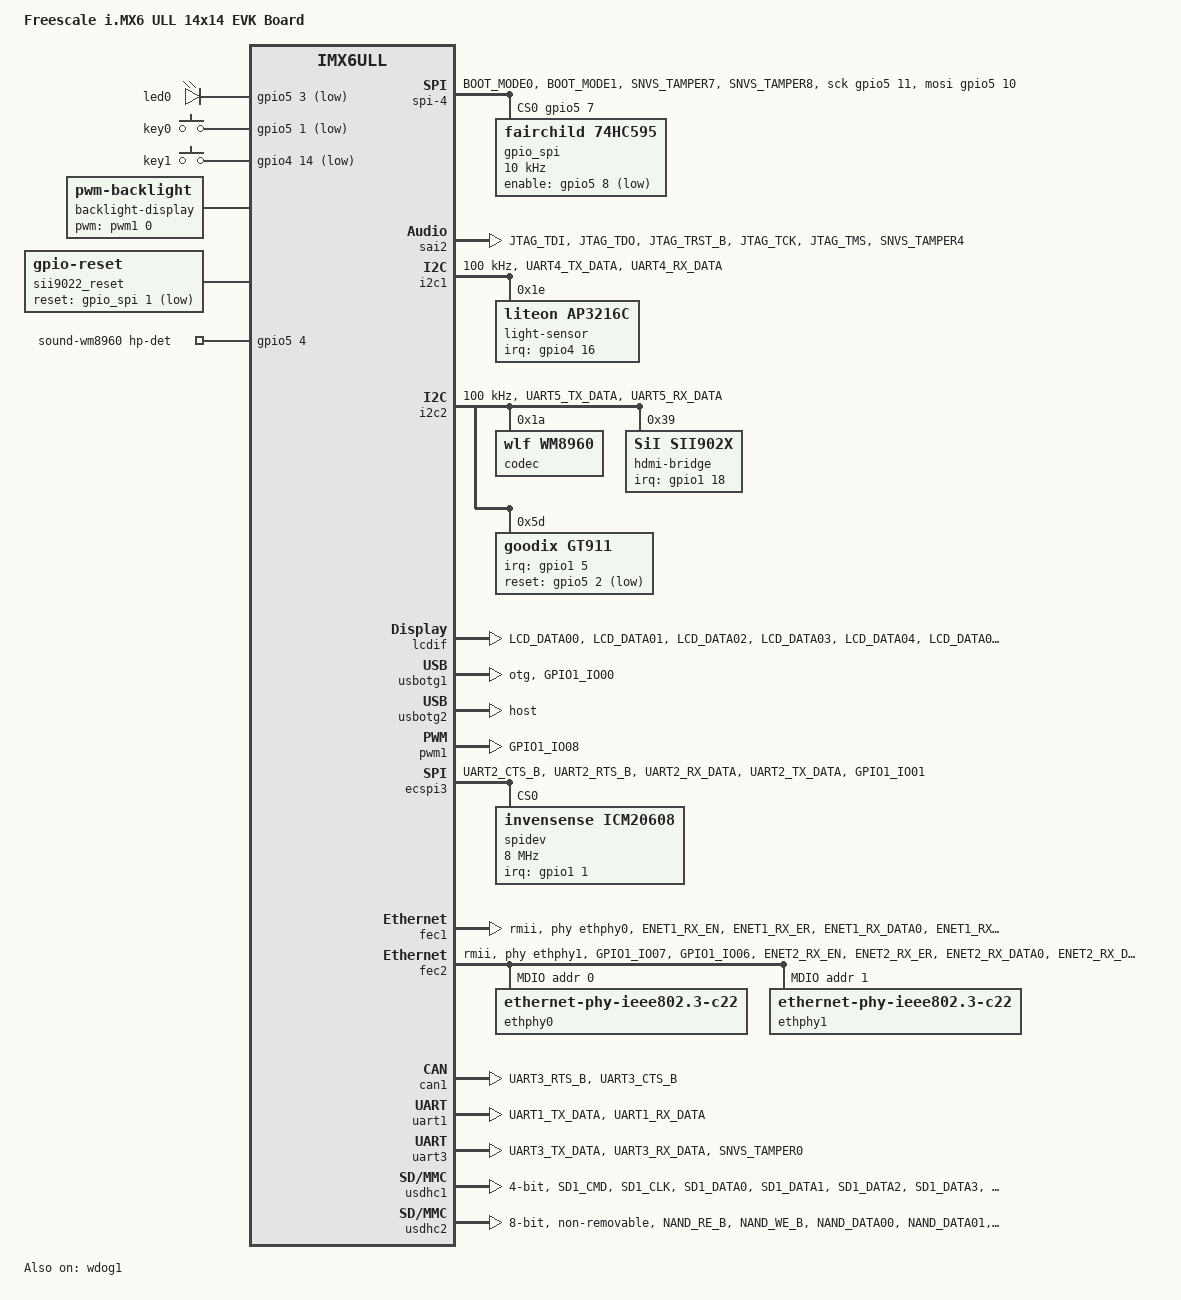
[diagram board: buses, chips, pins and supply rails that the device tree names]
// SPDX-License-Identifier: (GPL-2.0 OR MIT)
//
// Copyright (C) 2016 Freescale Semiconductor, Inc.

/dts-v1/;

#include "imx6ull.dtsi"
#include "imx6ul-14x14-evk.dtsi"

/ {
	model = "Freescale i.MX6 ULL 14x14 EVK Board";
	compatible = "fsl,imx6ull-14x14-evk", "fsl,imx6ull";
	
	leds {
		compatible = "gpio-leds";
		pinctrl-names = "default";
                pinctrl-0 = <&pinctrl_gpio_leds>;
		
		led0 {
			label = "led0";
			gpios = <&gpio5 3 GPIO_ACTIVE_LOW>;
			default-state = "off";
			linux,default-trigger = "heartbeat";
		};
	};
	
	keys {
		compatible = "gpio-keys";
		label = "keys";
		pinctrl-names = "default";
		pinctrl-0 = <&pinctrl_gpio_keys>;
		autorepeat;

		key0 {
			label = "key0";
			linux,code = <103>;
			gpios = <&gpio5 1 GPIO_ACTIVE_LOW>;
		};

		key1 {
			label = "key1";
			linux,code = <108>;
			gpios = <&gpio4 14 GPIO_ACTIVE_LOW>;
		};
	};
	
	backlight-display {
		compatible = "pwm-backlight";
		pwms = <&pwm1 0 5000000>;
		brightness-levels = <0 4 8 16 32 64 128 255>;
		default-brightness-level = <7>;
		status = "okay";
	};
	
	spi-4 {
		compatible = "spi-gpio";
		pinctrl-names = "default";
		pinctrl-0 = <&pinctrl_spi4>;
		status = "okay";
		sck-gpios = <&gpio5 11 0>;
		mosi-gpios = <&gpio5 10 0>;
		cs-gpios = <&gpio5 7 0>;
		num-chipselects = <1>;
		#address-cells = <1>;
		#size-cells = <0>;

		gpio_spi: gpio@0 {
			compatible = "fairchild,74hc595";
			gpio-controller;
			#gpio-cells = <2>;
			reg = <0>;
			registers-number = <1>;
			registers-default = /bits/ 8 <0x57>;
			spi-max-frequency = <10000>;
			enable-gpios = <&gpio5 8 GPIO_ACTIVE_LOW>;
		};
	};
	
	sii9022_reset: sii9022-reset{
		compatible = "gpio-reset";
		reset-gpios = <&gpio_spi 1 GPIO_ACTIVE_LOW>;
		reset-delay-us = <100000>;
		#reset-cells = <0>;
		status = "okay";
	};
	
	sound-wm8960 {
		compatible = "fsl,imx-audio-wm8960";
		model = "wm8960-audio";
		audio-cpu = <&sai2>;
		audio-codec = <&codec>;
		audio-asrc = <&asrc>;
		hp-det-gpio = <&gpio5 4 0>;
		audio-routing =
			"Headphone Jack", "HP_L",
			"Headphone Jack", "HP_R",
			"Ext Spk", "SPK_LP",
			"Ext Spk", "SPK_LN",
			"Ext Spk", "SPK_RP",
			"Ext Spk", "SPK_RN",
			"LINPUT1", "Mic Jack",
			"RINPUT1", "AMIC",
			"RINPUT2", "AMIC",
			"Mic Jack", "MICB",
			"AMIC", "MICB";
	};
};

&sai2 {
	pinctrl-names = "default";
	pinctrl-0 = <&pinctrl_sai2>;
	assigned-clocks = <&clks IMX6UL_CLK_SAI2_SEL>,
			  <&clks IMX6UL_CLK_SAI2>;
	assigned-clock-parents = <&clks IMX6UL_CLK_PLL4_AUDIO_DIV>;
	assigned-clock-rates = <0>, <12288000>;
	fsl,sai-mclk-direction-output;
	status = "okay";
};

&i2c1 {
	clock-frequency = <100000>;
	pinctrl-names = "default";
	pinctrl-0 = <&pinctrl_i2c1>;
	status = "okay";
	
	light-sensor@1e {
		pinctrl-names = "default";
		pinctrl-0 = <&pinctrl_light_sensor>;
		compatible = "liteon,ap3216c";
		reg = <0x1e>;
		interrupt-parent = <&gpio4>;
		interrupts = <16 IRQ_TYPE_EDGE_FALLING>;
	};
};

&i2c2 {
	clock-frequency = <100000>;
	pinctrl-names = "default";
	pinctrl-0 = <&pinctrl_i2c2>;
	status = "okay";

	codec: wm8960@1a {
		#sound-dai-cells = <0>;
		compatible = "wlf,wm8960";
		reg = <0x1a>;
		wlf,shared-lrclk;
		wlf,hp-cfg = <3 2 3>;
		wlf,gpio-cfg = <1 3>;
		clocks = <&clks IMX6UL_CLK_SAI2>;
		clock-names = "mclk";
	};
	
	hdmi-bridge@39 {
                 compatible = "SiI,sii902x";
                 pinctrl-names = "default";
                 reset-names="sii9022";
                 pinctrl-0 = <&pinctrl_sii9022>;
                 resets = <&sii9022_reset>;
                 interrupt-parent = <&gpio1>;
                 interrupts = <18 IRQ_TYPE_EDGE_FALLING>;
                 mode_str ="1280x720M@60";
                 bits-per-pixel = <16>;
                 reg = <0x39>;
        };
	
	gt911@5d {
		pinctrl-names = "default";
                pinctrl-0 = <&pinctrl_tsc_reset &pinctrl_tsc_int>;
		compatible = "goodix,gt911";
		reg = <0x5d>;
		interrupt-parent = <&gpio1>;
                interrupts = <5 IRQ_TYPE_EDGE_FALLING>;
                irq-gpios = <&gpio1 5 IRQ_TYPE_EDGE_FALLING>;
                reset-gpios = <&gpio5 2 GPIO_ACTIVE_LOW>;
                touchscreen-size-x = <800>;
                touchscreen-size-y = <480>;
	};
};

&lcdif {
	pinctrl-names = "default";
	pinctrl-0 = <&pinctrl_lcdif_dat
		     &pinctrl_lcdif_ctrl>;
	display = <&display0>;
	status = "okay";

	display0: display@0 {
		bits-per-pixel = <24>;
		bus-width = <24>;

		display-timings {
			native-mode = <&timing0>;

			timing0: timing0 {
				clock-frequency = <50000000>;
				hactive = <1024>;
				vactive = <600>;
				hfront-porch = <160>;
				hback-porch = <140>;
				hsync-len = <20>;
				vback-porch = <20>;
				vfront-porch = <12>;
				vsync-len = <3>;

				hsync-active = <0>;
				vsync-active = <0>;
				de-active = <1>;
				pixelclk-active = <0>;
			};
		};
	};
};

&usbotg1 {
	dr_mode = "otg";
	pinctrl-names = "default";
	pinctrl-0 = <&pinctrl_usb_otg1>;
	status = "okay";
};

&usbotg2 {
	dr_mode = "host";
	disable-over-current;
	status = "okay";
};

&usbphy1 {
	fsl,tx-d-cal = <0x5>;
};

&usbphy2 {
	fsl,tx-d-cal = <0x5>;
};

&pwm1 {
	#pwm-cells = <2>;
	pinctrl-names = "default";
	pinctrl-0 = <&pinctrl_pwm1>;
	status = "okay";
};

&ecspi3 {
	fsl,spi-num-chipselects = <1>;
	pinctrl-names = "default";
	pinctrl-0 = <&pinctrl_ecspi3>;
	cs-gpio = <&gpio1 20 GPIO_ACTIVE_LOW>;
	status = "okay";

	spidev: icm20608@0{
		compatible = "invensense,icm20608";
		interrupt-parent = <&gpio1>;
		interrupts = <1 IRQ_TYPE_EDGE_FALLING>;
		spi-max-frequency = <8000000>;
		reg = <0>;
	};
};

&fec1 {
	pinctrl-names = "default";
	pinctrl-0 = <&pinctrl_enet1>;
	phy-mode = "rmii";
	phy-handle = <&ethphy0>;
	phy-reset-gpios = <&gpio5 9 GPIO_ACTIVE_LOW>;
	phy-reset-duration = <26>;
	status = "okay";
};

&fec2 {
	pinctrl-names = "default";
	pinctrl-0 = <&pinctrl_enet2>;
	phy-mode = "rmii";
	phy-handle = <&ethphy1>;
	phy-reset-gpios = <&gpio5 6 GPIO_ACTIVE_LOW>;
	phy-reset-duration = <26>;
	status = "okay";

	mdio {
		#address-cells = <1>;
		#size-cells = <0>;

		ethphy0: ethernet-phy@0 {
			compatible = "ethernet-phy-ieee802.3-c22";
			smsc,disable-energy-detect;
			reg = <0>;

		};

		ethphy1: ethernet-phy@1 {
			compatible = "ethernet-phy-ieee802.3-c22";
			smsc,disable-energy-detect;
			reg = <1>;
		};
	};
};

&can1 {
	pinctrl-names = "default";
	pinctrl-0 = <&pinctrl_flexcan1>;
	status = "okay";
};

&clks {
	assigned-clocks = <&clks IMX6UL_CLK_PLL4_AUDIO_DIV>;
	assigned-clock-rates = <786432000>;
};

&uart1 {
	pinctrl-names = "default";
	pinctrl-0 = <&pinctrl_uart1>;
	status = "okay";
};

&uart3 {
	pinctrl-names = "default";
	pinctrl-0 = <&pinctrl_uart3
		     &pinctrl_rs485_ctl>;
	rts-gpio = <&gpio5 0 GPIO_ACTIVE_HIGH>;
	rs485-rts-delay = <100 100>;
	rs485-rts-active-high;
	rs485-rx-during-tx;
	status = "okay";
};

&usdhc1 {
	pinctrl-names = "default";
	pinctrl-0 = <&pinctrl_usdhc1>;
	cd-gpios = <&gpio1 19 GPIO_ACTIVE_LOW>;
	keep-power-in-suspend;
	wakeup-source;
	enable-sdio-wakeup;
	bus-width = <4>;
	status = "okay";
};

&usdhc2 {
	pinctrl-names = "default";
	pinctrl-0 = <&pinctrl_usdhc2_8bit>;
	non-removable;
	keep-power-in-suspend;
	wakeup-source;
	bus-width = <8>;
	status = "okay";
};

&wdog1 {
	status = "okay";
};

&iomuxc {
	pinctrl_gpio_leds: gpioledsgrp {
        	fsl,pins = <
			MX6UL_PAD_SNVS_TAMPER3__GPIO5_IO03	0x1b0b0
		>;
	};
	
	pinctrl_gpio_keys: gpiokeysgrp {
		fsl,pins = <
			MX6UL_PAD_SNVS_TAMPER1__GPIO5_IO01	0x1b0b0
			MX6UL_PAD_NAND_CE1_B__GPIO4_IO14	0x1b0b0
		>;
	};
	
	pinctrl_i2c1: i2c1grp {
		fsl,pins = <
			MX6UL_PAD_UART4_TX_DATA__I2C1_SCL 0x4001b8b0
			MX6UL_PAD_UART4_RX_DATA__I2C1_SDA 0x4001b8b0
		>;
	};
	
	pinctrl_i2c2: i2c2grp {
		fsl,pins = <
			MX6UL_PAD_UART5_TX_DATA__I2C2_SCL 0x4001b8b0
			MX6UL_PAD_UART5_RX_DATA__I2C2_SDA 0x4001b8b0
		>;
	};
	
	pinctrl_sii9022: sii9022grp {
		fsl,pins = <
			MX6UL_PAD_UART1_CTS_B__GPIO1_IO18	0x59
		>;
	};
	
	pinctrl_tsc_reset: tscresetgrp {
		fsl,pins = <
			MX6ULL_PAD_SNVS_TAMPER2__GPIO5_IO02        0x000110a0
		>;
        };
        
        pinctrl_tsc_int: tscintgrp {
		fsl,pins = <
			MX6UL_PAD_GPIO1_IO05__GPIO1_IO05 0x000010b0
		>;
	};
	
	pinctrl_light_sensor: lightsensorgrp {
		fsl,pins = <
			MX6UL_PAD_NAND_DQS__GPIO4_IO16	0x1b0b0
		>;
	};
	
	pinctrl_usb_otg1: usbotg1grp {
		fsl,pins = <
			MX6UL_PAD_GPIO1_IO00__ANATOP_OTG1_ID	0x17059
		>;
	};
	
	pinctrl_lcdif_dat: lcdifdatgrp {
		fsl,pins = <
			MX6UL_PAD_LCD_DATA00__LCDIF_DATA00  0x79
			MX6UL_PAD_LCD_DATA01__LCDIF_DATA01  0x79
			MX6UL_PAD_LCD_DATA02__LCDIF_DATA02  0x79
			MX6UL_PAD_LCD_DATA03__LCDIF_DATA03  0x79
			MX6UL_PAD_LCD_DATA04__LCDIF_DATA04  0x79
			MX6UL_PAD_LCD_DATA05__LCDIF_DATA05  0x79
			MX6UL_PAD_LCD_DATA06__LCDIF_DATA06  0x79
			MX6UL_PAD_LCD_DATA07__LCDIF_DATA07  0x79
			MX6UL_PAD_LCD_DATA08__LCDIF_DATA08  0x79
			MX6UL_PAD_LCD_DATA09__LCDIF_DATA09  0x79
			MX6UL_PAD_LCD_DATA10__LCDIF_DATA10  0x79
			MX6UL_PAD_LCD_DATA11__LCDIF_DATA11  0x79
			MX6UL_PAD_LCD_DATA12__LCDIF_DATA12  0x79
			MX6UL_PAD_LCD_DATA13__LCDIF_DATA13  0x79
			MX6UL_PAD_LCD_DATA14__LCDIF_DATA14  0x79
			MX6UL_PAD_LCD_DATA15__LCDIF_DATA15  0x79
			MX6UL_PAD_LCD_DATA16__LCDIF_DATA16  0x79
			MX6UL_PAD_LCD_DATA17__LCDIF_DATA17  0x79
			MX6UL_PAD_LCD_DATA18__LCDIF_DATA18  0x79
			MX6UL_PAD_LCD_DATA19__LCDIF_DATA19  0x79
			MX6UL_PAD_LCD_DATA20__LCDIF_DATA20  0x79
			MX6UL_PAD_LCD_DATA21__LCDIF_DATA21  0x79
			MX6UL_PAD_LCD_DATA22__LCDIF_DATA22  0x79
			MX6UL_PAD_LCD_DATA23__LCDIF_DATA23  0x79
		>;
	};

	pinctrl_lcdif_ctrl: lcdifctrlgrp {
		fsl,pins = <
			MX6UL_PAD_LCD_CLK__LCDIF_CLK	    0x79
			MX6UL_PAD_LCD_ENABLE__LCDIF_ENABLE  0x79
			MX6UL_PAD_LCD_HSYNC__LCDIF_HSYNC    0x79
			MX6UL_PAD_LCD_VSYNC__LCDIF_VSYNC    0x79
			MX6UL_PAD_LCD_RESET__GPIO3_IO04	    0x79
		>;
	};
	
	pinctrl_pwm1: pwm1grp {
		fsl,pins = <
			MX6UL_PAD_GPIO1_IO08__PWM1_OUT   0x110b0
		>;
	};
	
	pinctrl_ecspi3: ecspi3 {              
		fsl,pins = <
			MX6UL_PAD_UART2_CTS_B__ECSPI3_MOSI         0x10b0
			MX6UL_PAD_UART2_RTS_B__ECSPI3_MISO         0x10b0
			MX6UL_PAD_UART2_RX_DATA__ECSPI3_SCLK       0x10b0
			MX6UL_PAD_UART2_TX_DATA__ECSPI3_SS0        0x10b0
			MX6UL_PAD_UART2_TX_DATA__GPIO1_IO20        0x10b0
			MX6UL_PAD_GPIO1_IO01__GPIO1_IO01           0x10b0
		>;
	};
	
	pinctrl_spi4: spi4grp {
		fsl,pins = <
			MX6UL_PAD_BOOT_MODE0__GPIO5_IO10	0x70a1
			MX6UL_PAD_BOOT_MODE1__GPIO5_IO11	0x70a1
			MX6UL_PAD_SNVS_TAMPER7__GPIO5_IO07	0x70a1
			MX6UL_PAD_SNVS_TAMPER8__GPIO5_IO08	0x80000000
		>;
	};
	
	pinctrl_sai2: sai2grp {
		fsl,pins = <
			MX6UL_PAD_JTAG_TDI__SAI2_TX_BCLK	0x17088
			MX6UL_PAD_JTAG_TDO__SAI2_TX_SYNC	0x17088
			MX6UL_PAD_JTAG_TRST_B__SAI2_TX_DATA	0x11088
			MX6UL_PAD_JTAG_TCK__SAI2_RX_DATA	0x11088
			MX6UL_PAD_JTAG_TMS__SAI2_MCLK		0x17088
			MX6UL_PAD_SNVS_TAMPER4__GPIO5_IO04	0x17059
		>;
	};
	
	pinctrl_enet1: enet1grp {
		fsl,pins = <
			MX6UL_PAD_ENET1_RX_EN__ENET1_RX_EN	0x1b0b0
			MX6UL_PAD_ENET1_RX_ER__ENET1_RX_ER	0x1b0b0
			MX6UL_PAD_ENET1_RX_DATA0__ENET1_RDATA00	0x1b0b0
			MX6UL_PAD_ENET1_RX_DATA1__ENET1_RDATA01	0x1b0b0
			MX6UL_PAD_ENET1_TX_EN__ENET1_TX_EN	0x1b0b0
			MX6UL_PAD_ENET1_TX_DATA0__ENET1_TDATA00	0x1b0b0
			MX6UL_PAD_ENET1_TX_DATA1__ENET1_TDATA01	0x1b0b0
			MX6UL_PAD_ENET1_TX_CLK__ENET1_REF_CLK1	0x4001b031
			MX6UL_PAD_SNVS_TAMPER9__GPIO5_IO09	0x10b0
		>;
	};

	pinctrl_enet2: enet2grp {
		fsl,pins = <
			MX6UL_PAD_GPIO1_IO07__ENET2_MDC		0x1b0b0
			MX6UL_PAD_GPIO1_IO06__ENET2_MDIO	0x1b0b0
			MX6UL_PAD_ENET2_RX_EN__ENET2_RX_EN	0x1b0b0
			MX6UL_PAD_ENET2_RX_ER__ENET2_RX_ER	0x1b0b0
			MX6UL_PAD_ENET2_RX_DATA0__ENET2_RDATA00	0x1b0b0
			MX6UL_PAD_ENET2_RX_DATA1__ENET2_RDATA01	0x1b0b0
			MX6UL_PAD_ENET2_TX_EN__ENET2_TX_EN	0x1b0b0
			MX6UL_PAD_ENET2_TX_DATA0__ENET2_TDATA00	0x1b0b0
			MX6UL_PAD_ENET2_TX_DATA1__ENET2_TDATA01	0x1b0b0
			MX6UL_PAD_ENET2_TX_CLK__ENET2_REF_CLK2	0x4001b031
			MX6UL_PAD_SNVS_TAMPER6__GPIO5_IO06	0x10b0
		>;
	};
	
	pinctrl_flexcan1: flexcan1grp {
		fsl,pins = <
			MX6UL_PAD_UART3_RTS_B__FLEXCAN1_RX	0x1b020
			MX6UL_PAD_UART3_CTS_B__FLEXCAN1_TX	0x1b020
		>;
	};

	pinctrl_uart3: uart3grp {
		fsl,pins = <
			MX6UL_PAD_UART3_TX_DATA__UART3_DCE_TX   0x1b0b1
			MX6UL_PAD_UART3_RX_DATA__UART3_DCE_RX   0x1b0b1
		>;
	};
	
	pinctrl_rs485_ctl: rs485ctlgrp {
		fsl,pins = <
			MX6ULL_PAD_SNVS_TAMPER0__GPIO5_IO00     0x1b0b0
		>;
	};
	
	pinctrl_uart1: uart1grp {
		fsl,pins = <
			MX6UL_PAD_UART1_TX_DATA__UART1_DCE_TX 0x1b0b1
			MX6UL_PAD_UART1_RX_DATA__UART1_DCE_RX 0x1b0b1
		>;
	};
	
	pinctrl_usdhc1: usdhc1grp {
		fsl,pins = <
			MX6UL_PAD_SD1_CMD__USDHC1_CMD     	0x17059
			MX6UL_PAD_SD1_CLK__USDHC1_CLK		0x10071
			MX6UL_PAD_SD1_DATA0__USDHC1_DATA0 	0x17059
			MX6UL_PAD_SD1_DATA1__USDHC1_DATA1 	0x17059
			MX6UL_PAD_SD1_DATA2__USDHC1_DATA2 	0x17059
			MX6UL_PAD_SD1_DATA3__USDHC1_DATA3 	0x17059
			MX6UL_PAD_UART1_RTS_B__GPIO1_IO19       0x17059
		>;
	};

	pinctrl_usdhc2_8bit: usdhc2grp_8bit {
		fsl,pins = <
			MX6UL_PAD_NAND_RE_B__USDHC2_CLK     0x10069
			MX6UL_PAD_NAND_WE_B__USDHC2_CMD     0x17059
			MX6UL_PAD_NAND_DATA00__USDHC2_DATA0 0x17059
			MX6UL_PAD_NAND_DATA01__USDHC2_DATA1 0x17059
			MX6UL_PAD_NAND_DATA02__USDHC2_DATA2 0x17059
			MX6UL_PAD_NAND_DATA03__USDHC2_DATA3 0x17059
			MX6UL_PAD_NAND_DATA04__USDHC2_DATA4 0x17059
			MX6UL_PAD_NAND_DATA05__USDHC2_DATA5 0x17059
			MX6UL_PAD_NAND_DATA06__USDHC2_DATA6 0x17059
			MX6UL_PAD_NAND_DATA07__USDHC2_DATA7 0x17059
		>;
	};
};

